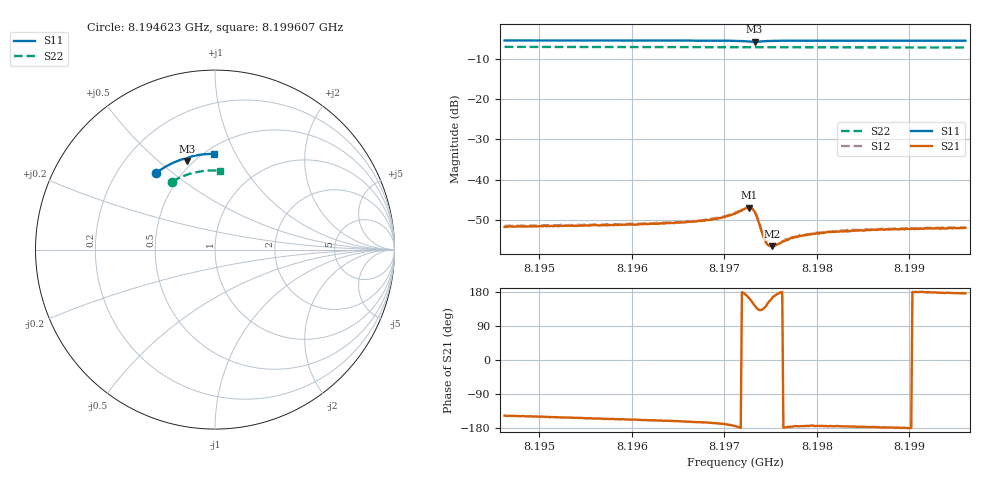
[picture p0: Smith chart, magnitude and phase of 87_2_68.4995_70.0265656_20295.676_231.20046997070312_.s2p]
#  HZ  S  RI  R  50.00
! Rohde & Schwarz Vector Network Analyzer
! Rohde-Schwarz,ZNB20-2Port,1311601062101988,3.16
! Created: UTC 3/20/2024, 4:52:24 PM
! freq[Hz]  re:S11  im:S11  re:S21  im:S21  re:S12  im:S12  re:S22  im:S22
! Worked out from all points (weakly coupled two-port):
!   401 points, 8.194623 GHz to 8.199607 GHz, reference 50 ohm
!   highest |S21| = -47.02 dB at 8.197265 GHz (marker M1); lowest = -56.6 dB at 8.197514 GHz (marker M2)
!   lowest |S11| = -5.7 dB at 8.197327 GHz (marker M3), VSWR 3.15, Z = 23.2 + j31.2 ohm
!   |S11| at or under -10 dB: nowhere
!   |S22| runs from -7.1 to -7.0 dB; largest |S21 - S12| = 0.00025
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8.194623e9  -0.3296 0.4256  -0.00215 -0.00141  -0.00226 -0.00139  -0.2393 0.3787
8.1954578e9  -0.2805 0.4586  -0.00238 -0.00121  -0.00245 -0.00115  -0.198 0.4007
8.1962927e9  -0.2276 0.4862  -0.00266 -0.001  -0.00276 -0.00093  -0.1546 0.4178
8.1965169e9  -0.2127 0.4925  -0.00277 -0.000905  -0.00284 -0.000801  -0.1426 0.4216
8.1967661e9  -0.1954 0.4991  -0.00297 -0.00081  -0.00305 -0.000711  -0.1292 0.4255
8.1969406e9  -0.1825 0.5031  -0.00323 -0.000728  -0.00334 -0.000611  -0.1197 0.4279
8.197115e9  -0.1675 0.5056  -0.00373 -0.000397  -0.00385 -0.000215  -0.11 0.4301
8.1972272e9  -0.1564 0.5028  -0.00434 0.000531  -0.00441 0.000696  -0.1036 0.4313
8.1972645e9  -0.1539 0.4995  -0.00428 0.00123  -0.00435 0.00142  -0.1018 0.4316
8.1973019e9  -0.154 0.4953  -0.00386 0.00201  -0.00379 0.00219  -0.0999 0.4319
8.1973269e9  -0.1561 0.4935  -0.00321 0.00235  -0.00318 0.00253  -0.0985 0.4321
8.1973518e9  -0.159 0.4938  -0.00249 0.00237  -0.0024 0.00253  -0.0973 0.4326
8.1974141e9  -0.1614 0.5002  -0.00144 0.0015  -0.00141 0.0016  -0.094 0.4332
8.197439e9  -0.1605 0.5031  -0.00134 0.00116  -0.00133 0.0012  -0.0926 0.4336
8.1974764e9  -0.1581 0.5063  -0.00133 0.000707  -0.00134 0.000782  -0.0906 0.4339
8.1975138e9  -0.1552 0.5089  -0.00141 0.000456  -0.0014 0.000531  -0.0884 0.4344
8.1975636e9  -0.1512 0.5113  -0.00153 0.000197  -0.00155 0.000258  -0.0858 0.4348
8.197738e9  -0.1373 0.517  -0.00187 -0.000138  -0.00193 -9.48e-05  -0.0759 0.4365
8.1979499e9  -0.1216 0.5211  -0.00208 -0.000247  -0.00214 -0.000151  -0.064 0.438
8.1982738e9  -0.0982 0.5259  -0.00226 -0.000203  -0.00233 -8.01e-05  -0.0458 0.4397
8.1987847e9  -0.0618 0.5311  -0.00238 -7.09e-05  -0.00244 3.59e-05  -0.0169 0.441
8.1996071e9  -0.00347 0.5338  -0.00251 0.000177  -0.00255 0.000319  0.0296 0.4387
